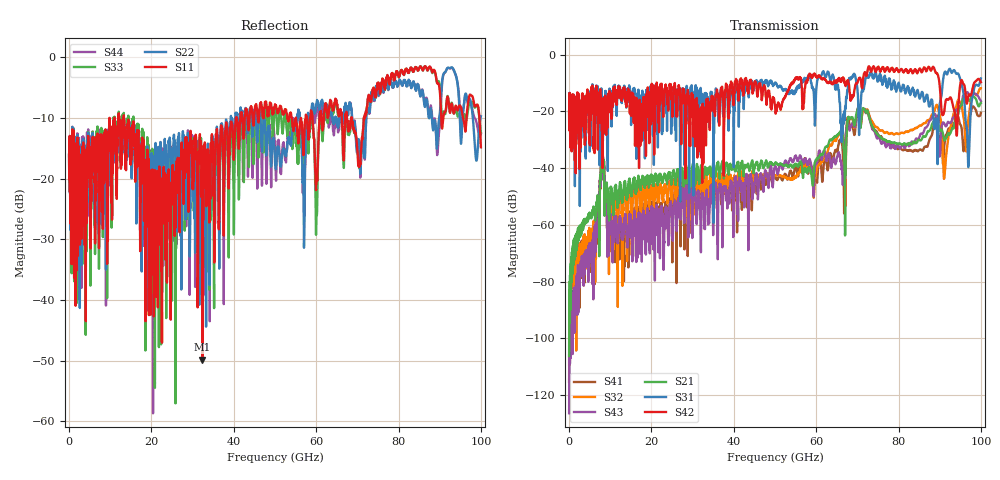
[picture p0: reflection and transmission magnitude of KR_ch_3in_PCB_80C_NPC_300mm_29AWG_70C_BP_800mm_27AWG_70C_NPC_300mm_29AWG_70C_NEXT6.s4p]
# GHz S RI R 45
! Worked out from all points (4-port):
!   4000 points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, 25 MHz to 100 GHz, reference 45 ohm
!   strongest paths, dB at 25 MHz, 25.02 GHz, 50.02 GHz, 75.03 GHz, 100 GHz:
!     S42: -20.0, -17.9, -18.0, -4.4, -9.7
!     S31: -20.0, -21.4, -10.2, -8.7, -8.4
!     S21: -106.2, -44.0, -38.1, -28.3, -17.0
!     S43: -126.4, -57.7, -39.3, -29.4, -16.4
!     S32: -109.4, -52.3, -42.7, -25.9, -11.9
!     S41: -115.3, -68.8, -43.0, -28.1, -20.5
!   lowest |S11| = -49.8 dB at 32.38 GHz (marker M1), VSWR 1.01, Z = 45 + j0.29 ohm
!   |S11| at or under -10 dB: start of sweep to 9.824 GHz; 13.31 GHz to 40.54 GHz (27.23 GHz wide, 101 % of centre); 68.65 GHz to 71.57 GHz (2.921 GHz wide, 4.17 % of centre) (the widest 3 of 31)
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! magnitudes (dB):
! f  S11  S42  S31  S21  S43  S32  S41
! 25 MHz  -16.1  -20.0  -20.0  -106.2  -126.4  -109.4  -115.3
! 8.05 GHz  -19.6  -23.6  -18.0  -38.5  -36.3  -37.3  -36.5
! 11.72 GHz  -13.5  -13.0  -13.5  -53.6  -62.3  -61.4  -63.0
! 32.38 GHz  -49.8  -23.2  -21.5  -41.8  -49.0  -42.8  -44.6
! 91.25 GHz  -9.0  -18.3  -6.1  -30.2  -24.8  -41.2  -30.2
! 96.85 GHz  -7.7  -15.3  -36.0  -15.2  -13.4  -24.4  -23.8
! 100 GHz  -14.8  -9.7  -8.4  -17.0  -16.4  -11.9  -20.5
